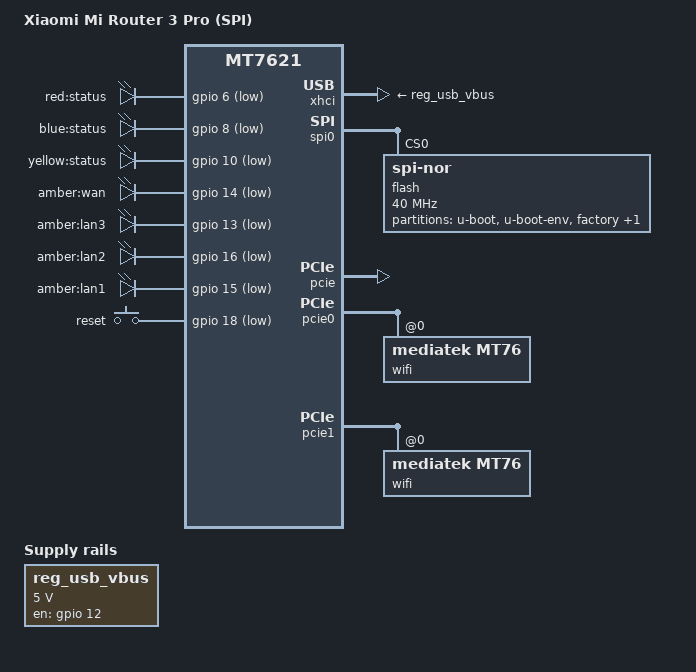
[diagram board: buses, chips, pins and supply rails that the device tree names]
// SPDX-License-Identifier: GPL-2.0-or-later OR MIT

#include "mt7621.dtsi"

#include <dt-bindings/gpio/gpio.h>
#include <dt-bindings/input/input.h>

/ {
	compatible = "xiaomi,mi-router-3-pro-spi", "mediatek,mt7621-soc";
	model = "Xiaomi Mi Router 3 Pro (SPI)";

	aliases {
		led-boot = &led_status_yellow;
		led-failsafe = &led_status_red;
		led-running = &led_status_blue;
		led-upgrade = &led_status_yellow;
		label-mac-device = &gmac0;
	};

	chosen {
		bootargs = "console=ttyS0,115200n8";
	};

	leds {
		compatible = "gpio-leds";

		led_status_red: status_red {
			label = "red:status";
			gpios = <&gpio 6 GPIO_ACTIVE_LOW>;
		};

		led_status_blue: status_blue {
			label = "blue:status";
			gpios = <&gpio 8 GPIO_ACTIVE_LOW>;
		};

		led_status_yellow: status_yellow {
			label = "yellow:status";
			gpios = <&gpio 10 GPIO_ACTIVE_LOW>;
		};

		wan_amber {
			label = "amber:wan";
			gpios = <&gpio 14 GPIO_ACTIVE_LOW>;
			linux,default-trigger = "dsa-0.0:04:1Gbps";
		};

		lan3_amber {
			label = "amber:lan3";
			gpios = <&gpio 13 GPIO_ACTIVE_LOW>;
			linux,default-trigger = "dsa-0.0:03:1Gbps";
		};

		lan2_amber {
			label = "amber:lan2";
			gpios = <&gpio 16 GPIO_ACTIVE_LOW>;
			linux,default-trigger = "dsa-0.0:02:1Gbps";
		};

		lan1_amber {
			label = "amber:lan1";
			gpios = <&gpio 15 GPIO_ACTIVE_LOW>;
			linux,default-trigger = "dsa-0.0:01:1Gbps";
		};
	};

	keys {
		compatible = "gpio-keys";

		reset {
			label = "reset";
			gpios = <&gpio 18 GPIO_ACTIVE_LOW>;
			linux,code = <KEY_RESTART>;
		};
	};

	reg_usb_vbus: regulator {
		compatible = "regulator-fixed";
		regulator-name = "usb_vbus";
		regulator-min-microvolt = <5000000>;
		regulator-max-microvolt = <5000000>;
		gpio = <&gpio 12 GPIO_ACTIVE_HIGH>;
		enable-active-high;
	};
};

&xhci {
	vbus-supply = <&reg_usb_vbus>;
};

&spi0 {
        status = "okay";

        flash@0 {
                compatible = "jedec,spi-nor";
                reg = <0>;
                spi-max-frequency = <40000000>;

                partitions {
                        compatible = "fixed-partitions";
                        #address-cells = <1>;
                        #size-cells = <1>;

                        partition@0 {
                                label = "u-boot";
                                reg = <0x0 0x30000>;
                                read-only;
                        };

                        partition@30000 {
                                label = "u-boot-env";
                                reg = <0x30000 0x10000>;
                                read-only;
                        };

                        factory: partition@40000 {
                                label = "factory";
                                reg = <0x40000 0x10000>;
                                read-only;
                        };

                        partition@50000 {
                                compatible = "denx,uimage";
                                label = "firmware";
                                reg = <0x50000 0xfb0000>;
                        };
                };
        };
};

&pcie {
	status = "okay";
};

&pcie0 {
	wifi@0,0 {
		compatible = "mediatek,mt76";
		reg = <0x0000 0 0 0 0>;
		mediatek,mtd-eeprom = <&factory 0x0000>;
		ieee80211-freq-limit = <2400000 2500000>;
	};
};

&pcie1 {
	wifi@0,0 {
		compatible = "mediatek,mt76";
		reg = <0x0000 0 0 0 0>;
		mediatek,mtd-eeprom = <&factory 0x8000>;
		ieee80211-freq-limit = <5000000 6000000>;
	};
};

&gmac0 {
	nvmem-cells = <&macaddr_factory_e006>;
	nvmem-cell-names = "mac-address";
};

&switch0 {
	ports {
		port@1 {
			status = "okay";
			label = "lan3";
		};

		port@2 {
			status = "okay";
			label = "lan2";
		};

		port@3 {
			status = "okay";
			label = "lan1";
		};

		port@4 {
			status = "okay";
			label = "wan";
			nvmem-cells = <&macaddr_factory_e000>;
			nvmem-cell-names = "mac-address";
		};
	};
};

&state_default {
	gpio {
		groups = "jtag", "uart2", "uart3", "wdt";
		function = "gpio";
	};
};

&factory {
	compatible = "nvmem-cells";
	#address-cells = <1>;
	#size-cells = <1>;

	macaddr_factory_e000: macaddr@e000 {
		reg = <0xe000 0x6>;
	};

	macaddr_factory_e006: macaddr@e006 {
		reg = <0xe006 0x6>;
	};
};
